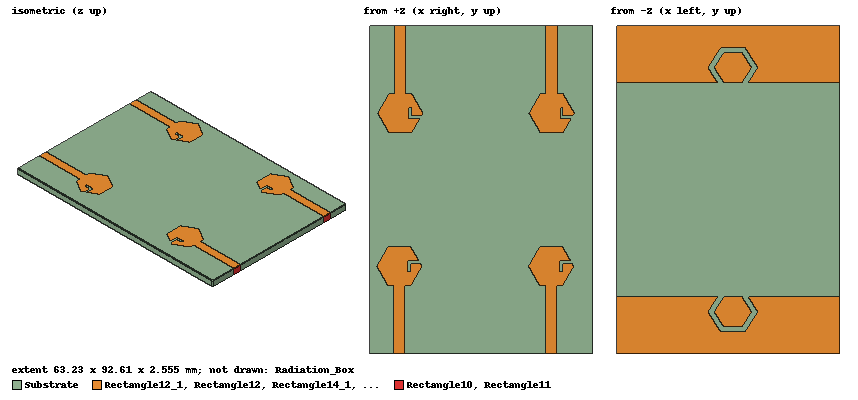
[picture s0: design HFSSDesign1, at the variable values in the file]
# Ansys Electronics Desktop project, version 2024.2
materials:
  vacuum: permittivity=1
  FR4_epoxy: permittivity=4.4 dielectric_loss_tangent=0.02 mass_density=1900
  air: permittivity=1.0006 permeability=1.0000004 mass_density=1.1614

design HFSSDesign1 (HFSS, HFSS Terminal Network, model units mm)
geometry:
  Rectangle2 = rectangle(corner=(30mm, 0mm, 0mm), x_size=-2mm, y_size=-8mm)
  Rectangle3 = rectangle(corner=(6mm, 0mm, 0mm), x_size=2mm, y_size=-8mm)
  Polygon1 = regular_polygon(axis=Z, centre=(7.5mm, -11mm, 0mm), first_corner=(3.5mm, -11mm, 0mm), sides=6)
  Polygon1.move(-0.5mm, -0.46410162mm, 0mm)
  Polygon1_1 = Polygon1.duplicate_along_line(step=(22mm, 0mm, 0mm), total=2)
  Rectangle5 = rectangle(corner=(8.5mm, -12.5mm, 0mm), x_size=2.5mm, y_size=0.5mm)
  Rectangle6 = rectangle(corner=(9mm, -12.5mm, 0mm), x_size=-0.5mm, y_size=2mm)
  Rectangle8 = rectangle(corner=(30.5mm, -12.5mm, 0mm), x_size=2.5mm, y_size=0.5mm)
  Rectangle9 = rectangle(corner=(31mm, -12.5mm, 0mm), x_size=-0.5mm, y_size=2mm)
  Rectangle6.unite(Rectangle5)
  Rectangle8.unite(Rectangle9)
  Polygon1_1.subtract(Rectangle8)
  Polygon1.subtract(Rectangle6)
  Polygon1_1.unite(Rectangle2)
  Polygon1.unite(Rectangle3)
  Substrate [FR4_epoxy] = box(corner=(36mm, 0mm, 0mm), size=(-36mm, -58mm, -1.6mm))
  Rectangle10 = rectangle(corner=(30mm, 0mm, 0mm), z_size=-1.6mm, x_size=-2mm)
  Rectangle11 = rectangle(corner=(8mm, 0mm, 0mm), z_size=-1.6mm, x_size=-2mm)
  Rectangle12 = rectangle(corner=(0mm, 0mm, -1.6mm), x_size=36mm, y_size=-10mm)
  Polyline1 = polyline(z=-1.6mm, xy in mm: (18.75, -10) (19.75, -10) (21.25, -7.4019238) (19.25, -3.9378222) (15.25, -3.9378222) (13.25, -7.4019238) (14.75, -10) (15.75, -10) (14.25, -7.4019238) (15.75, -4.8038476) (18.75, -4.8038476) (20.25, -7.4019238) (18.75, -10), closed, covered)
  Rectangle12.subtract(Polyline1)
  Radiation_Box [air] = box(corner=(-10mm, 10mm, -10mm), size=(56mm, -74mm, 20mm))
  [Polygon1_1, Polygon1].move(0mm, -4mm, 0mm)
  Rectangle13 = rectangle(corner=(30mm, -4mm, 0mm), x_size=-2mm, y_size=4mm)
  Rectangle14 = rectangle(corner=(8mm, -4mm, 0mm), x_size=-2mm, y_size=4mm)
  Rectangle13.unite(Polygon1_1)
  Rectangle14.unite(Polygon1)
  [Rectangle13, Rectangle10].move(2mm, 0mm, 0mm)
  [Rectangle14, Rectangle11].move(-2mm, 0mm, 0mm)
  [Rectangle12, Substrate].scale(1.1, 1, 1)
  [Rectangle13, Rectangle10].move(4mm, 0mm, 0mm)
  [Substrate, Rectangle10, Rectangle11, Rectangle12, Radiation_Box, Rectangle13, Rectangle14].scale(1.2, 1.2, 1.2)
  Rectangle14_1 = Rectangle14.duplicate_along_line(step=(0.073278383mm, -33.727527mm, 0mm), total=2)
  Rectangle14_1.mirror(point=(6mm, -50mm, 0mm), normal=(0mm, 1mm, 0mm))
  Rectangle14_1.move(0.026721617mm, 8.6724726mm, 0mm)
  Rectangle14_1_1 = Rectangle14_1.duplicate_along_line(step=(36.5mm, 7.1054274e-15mm, 0mm), total=2)
  Rectangle14_1_1.move(-0.6mm, 0mm, 0mm)
  Rectangle10_1 = Rectangle10.duplicate_along_line(step=(-7mm, 0mm, 9.96mm), total=2)
  Rectangle10_1.move(-20mm, 0mm, -17mm)
  Rectangle10_1.move(-8.9mm, -57.6mm, 7.04mm)
  Rectangle10_1_1 = Rectangle10_1.duplicate_along_line(step=(35.9mm, -0.4mm, -2.04mm), total=2)
  Rectangle10_1_1.move(-7.1054274e-15mm, 0.4mm, 2.04mm)
  Rectangle12_1 = Rectangle12.duplicate_mirror(point=(22.77mm, -8.8823085mm, -1.92mm), normal=(0mm, 1mm, 0mm))
  Rectangle12_1.move(0mm, -38.235383mm, -0.08mm)
  Rectangle12_1.move(0mm, -1.6mm, 0.08mm)
  [Rectangle14_1, Rectangle10_1, Rectangle14_1_1, Rectangle10_1_1, Rectangle12_1].move(0mm, -14.4mm, 0mm)
  [Rectangle14_1, Rectangle10_1].move(1.9mm, 1.4210855e-14mm, 0mm)
  [Rectangle14_1_1, Rectangle10_1_1, Rectangle13, Rectangle10].move(-4mm, 0mm, 0mm)
  [Rectangle14, Rectangle11].move(4mm, 0mm, 0mm)
  [Rectangle14_1, Rectangle10_1].move(2mm, 0mm, 0mm)
  [Substrate, Rectangle10, Rectangle11, Rectangle12, Radiation_Box, Rectangle13, Rectangle14, Rectangle14_1, Rectangle14_1_1, Rectangle10_1, Rectangle10_1_1, Rectangle12_1].scale(1.2, 1.2, 1.2)
  [Substrate, Rectangle10, Rectangle11, Rectangle12, Radiation_Box, Rectangle13, Rectangle14, Rectangle14_1, Rectangle14_1_1, Rectangle10_1, Rectangle10_1_1, Rectangle12_1].scale(0.4, 0.4, 0.4)
  [Substrate, Rectangle10, Rectangle11, Rectangle12, Radiation_Box, Rectangle13, Rectangle14, Rectangle14_1, Rectangle14_1_1, Rectangle10_1, Rectangle10_1_1, Rectangle12_1].scale(1.4, 1.4, 1.4)
  [Substrate, Rectangle10, Rectangle11, Rectangle12, Radiation_Box, Rectangle13, Rectangle14, Rectangle14_1, Rectangle14_1_1, Rectangle10_1, Rectangle10_1_1, Rectangle12_1].scale(1.1, 1.1, 1.1)
  Rectangle14_1.move(-0.88704mm, 0mm, 0mm)
  Rectangle10_1.move(-0.88704mm, 0mm, 0mm)
  [Rectangle14_1, Rectangle10_1].move(-0.88704mm, 0mm, 0mm)
  [Rectangle14, Rectangle11].move(-1.392mm, 0mm, 0mm)
  [Rectangle12_1, Rectangle14_1, Rectangle10_1, Rectangle14_1_1, Rectangle10_1_1].move(0mm, 10.64448mm, 0mm)
  [Substrate, Rectangle10, Rectangle11, Rectangle12, Radiation_Box, Rectangle13, Rectangle14, Rectangle14_1, Rectangle14_1_1, Rectangle10_1, Rectangle10_1_1, Rectangle12_1].scale(0.5, 0.5, 0.5)
  [Substrate, Rectangle10, Rectangle11, Rectangle12, Radiation_Box, Rectangle13, Rectangle14, Rectangle14_1, Rectangle14_1_1, Rectangle10_1, Rectangle10_1_1, Rectangle12_1].scale(2.5, 2.5, 2.5)
  [Rectangle14_1, Rectangle10_1].move(-2.2176mm, 0mm, 0mm)
  [Rectangle14_1_1, Rectangle10_1_1].move(2.2176mm, -1.4210855e-14mm, 0mm)
  [Rectangle14_1_1, Rectangle10_1_1].move(1.6632mm, 0mm, 0mm)
  [Rectangle13, Rectangle10].move(2.888mm, 0mm, 0mm)
  [Rectangle13, Rectangle10].move(1.1088mm, 0mm, 0mm)
  [Rectangle14, Rectangle11].move(-2.5mm, 0mm, 0mm)
  Substrate.scale(1.2, 1.2, 1.2)
  Rectangle10.scale(1.2, 1.2, 1.2)
  Rectangle11.scale(1.2, 1.2, 1.2)
  Rectangle12.scale(1.2, 1.2, 1.2)
  Radiation_Box.scale(1.2, 1.2, 1.2)
  Rectangle13.scale(1.2, 1.2, 1.2)
  Rectangle14.scale(1.2, 1.2, 1.2)
  Rectangle14_1.scale(1.2, 1.2, 1.2)
  Rectangle14_1_1.scale(1.2, 1.2, 1.2)
  Rectangle10_1.scale(1.2, 1.2, 1.2)
  Rectangle10_1_1.scale(1.2, 1.2, 1.2)
  Rectangle12_1.scale(1.2, 1.2, 1.2)
  [Substrate, Rectangle10, Rectangle11, Rectangle12, Radiation_Box, Rectangle13, Rectangle14, Rectangle14_1, Rectangle14_1_1, Rectangle10_1, Rectangle10_1_1, Rectangle12_1].scale(1.2, 1.2, 1.2)
  [Rectangle14_1, Rectangle12_1, Rectangle10_1, Rectangle14_1_1, Rectangle10_1_1].move(0mm, -9.580032mm, 0mm)
  [Rectangle14_1, Rectangle10_1, Rectangle14_1_1, Rectangle10_1_1, Rectangle12_1].move(0mm, -6.386688mm, 0mm)
  [Rectangle14_1, Rectangle10_1, Rectangle14, Rectangle11].move(1.596672mm, 0mm, 0mm)
  [Rectangle14_1_1, Rectangle10_1_1, Rectangle10, Rectangle13].move(-1.596672mm, -2.8421709e-14mm, 0mm)
  Rectangle14_1_1.move(-1.596672mm, 0mm, 0mm)
  Rectangle10_1_1.move(-1.596672mm, 0mm, 0mm)
  Rectangle10.move(-1.596672mm, 0mm, 0mm)
  Rectangle13.move(-1.596672mm, 0mm, 0mm)
  [Rectangle14_1_1, Rectangle10_1_1, Rectangle10, Rectangle13].move(-1.596672mm, 0mm, 0mm)
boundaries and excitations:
  Rad1: Radiation Objects=Radiation_Box
  PerfE1: Perfect E Objects=Rectangle13
  PerfE2: Perfect E Objects=Rectangle14
  PerfE3: Perfect E Objects=Rectangle12
  PerfE4: Perfect E Objects=Rectangle14_1
  PerfE5: Perfect E Objects=Rectangle14_1_1
  PerfE6: Perfect E Objects=Rectangle12_1
  1: Lumped Port Objects=Rectangle10 LumpedPortType=Modal Modes{Mode1{IntLine{(51.3669888, 0, -2.5546752) -> (51.3669888, 0, 0)} CharImp=Zpi RenormImp=50ohm}} Impedance=50ohm
  2: Lumped Port Objects=Rectangle11 LumpedPortType=Modal Modes{Mode1{IntLine{(8.6370048, 0, -2.5546752) -> (8.6370048, 0, 0)} CharImp=Zpi RenormImp=50ohm}} Impedance=50ohm
  3: Lumped Port Objects=Rectangle10_1 LumpedPortType=Modal Modes{Mode1{IntLine{(8.3559168, -92.606976, -2.5546752) -> (8.3559168, -92.606976, 0)} CharImp=Zpi RenormImp=50ohm}} Impedance=50ohm
  4: Lumped Port Objects=Rectangle10_1_1 LumpedPortType=Modal Modes{Mode1{IntLine{(51.1999488, -92.606976, -2.5546752) -> (51.1999488, -92.606976, 0)} CharImp=Zpi RenormImp=50ohm}} Impedance=50ohm
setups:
  Setup1: HfssDriven Frequency=3.5GHz MaxDeltaS=0.02 MaximumPasses=10 MinimumPasses=1 MinimumConvergedPasses=1 PercentRefinement=30 BasisOrder=1 PortAccuracy=2 DrivenSolverType="Direct Solver"
    sweep Sweep: 1GHz to 6GHz step 0.05GHz; Type=Fast SaveFields
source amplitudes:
  1:1, 2:1, 3:1, 4:1: 1W 0deg
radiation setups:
  Infinite Sphere1: Infinite Sphere Theta=0deg..360deg step 2deg Phi=0deg..360deg step 2deg
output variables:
  ECC_12 = (mag(conjg(S(1,1))*S(1,2)+conjg(S(2,1))*S(2,2)+conjg(S(3,1))*S(3,2)+conjg(S(4,1))*S(4,2)))^2 /((1-mag(S(1,1))^2-mag(S(2,1))^2-mag(S(3,1))^2-mag(S(4,1))^2)*(1-mag(S(1,2))^2-mag(S(2,2))^2-mag(S(3,2))^2-mag(S(4,2))^2))
  ECC_13 = (mag(conjg(S(1,1))*S(1,3)+conjg(S(2,1))*S(2,3)+conjg(S(3,1))*S(3,3)+conjg(S(4,1))*S(4,3)))^2 /((1-mag(S(1,1))^2-mag(S(2,1))^2-mag(S(3,1))^2-mag(S(4,1))^2)*(1-mag(S(1,3))^2-mag(S(2,3))^2-mag(S(3,3))^2-mag(S(4,3))^2))
  ECC_14 = (mag(conjg(S(1,1))*S(1,4)+conjg(S(2,1))*S(2,4)+conjg(S(3,1))*S(3,4)+conjg(S(4,1))*S(4,4)))^2 /((1-mag(S(1,1))^2-mag(S(2,1))^2-mag(S(3,1))^2-mag(S(4,1))^2)*(1-mag(S(1,4))^2-mag(S(2,4))^2-mag(S(3,4))^2-mag(S(4,4))^2))
  ECC_23 = (mag(conjg(S(1,2))*S(1,3)+conjg(S(2,2))*S(2,3)+conjg(S(3,2))*S(3,3)+conjg(S(4,2))*S(4,3)))^2 /((1-mag(S(1,2))^2-mag(S(2,2))^2-mag(S(3,2))^2-mag(S(4,2))^2)*(1-mag(S(1,3))^2-mag(S(2,3))^2-mag(S(3,3))^2-mag(S(4,3))^2))
  ECC_24 = (mag(conjg(S(1,2))*S(1,4)+conjg(S(2,2))*S(2,4)+conjg(S(3,2))*S(3,4)+conjg(S(4,2))*S(4,4)))^2 /((1-mag(S(1,2))^2-mag(S(2,2))^2-mag(S(3,2))^2-mag(S(4,2))^2)*(1-mag(S(1,4))^2-mag(S(2,4))^2-mag(S(3,4))^2-mag(S(4,4))^2))
  ECC_34 = (mag(conjg(S(1,3))*S(1,4)+conjg(S(2,3))*S(2,4)+conjg(S(3,3))*S(3,4)+conjg(S(4,3))*S(4,4)))^2 /((1-mag(S(1,3))^2-mag(S(2,3))^2-mag(S(3,3))^2-mag(S(4,3))^2)*(1-mag(S(1,4))^2-mag(S(2,4))^2-mag(S(3,4))^2-mag(S(4,4))^2))
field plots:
  Mag_Jsurf1: Jsurf over Rectangle14_1.face(at (8.51558, -77.4959, 0)) on Setup1 : LastAdaptive at Freq=3.5GHz Phase=0deg
  Mag_Jsurf2: Jsurf over Rectangle14_1_1.face(at (51.3596, -77.4959, 0)) on Setup1 : LastAdaptive at Freq=3.5GHz Phase=0deg
  Mag_Jsurf3: Jsurf over Rectangle14.face(at (8.79667, -15.1111, 0)) on Setup1 : LastAdaptive at Freq=3.5GHz Phase=0deg
  Mag_Jsurf4: Jsurf over Rectangle13.face(at (51.5267, -15.1111, 0)) on Setup1 : LastAdaptive at Freq=3.5GHz Phase=0deg
  Average_SAR1, Average_SAR2: SAR Field on Setup1 : LastAdaptive at Freq=3.5GHz Phase=0deg
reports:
  Terminal S Parameter Plot 1: dB(St(1,1)), dB(St(2,2)), dB(St(3,3)), dB(St(4,4)) vs Freq on Setup1 : Sweep
  rE Plot 1: dB(rETotal) vs Phi, Theta on Setup1 : LastAdaptive, Infinite Sphere1 [Freq=3.5GHz]
  Gain Plot 1: dB(GainTotal) vs Theta on Setup1 : LastAdaptive, Infinite Sphere1 [Phi=all Freq=3.5GHz]
  Output Variables Table 2: mag(ECC_12), mag(ECC_13), mag(ECC_14), mag(ECC_23), mag(ECC_24), mag(ECC_34) vs Freq on Setup1 : Sweep [Freq=3.4GHz,3.45GHz,3.5GHz,3.55GHz]
